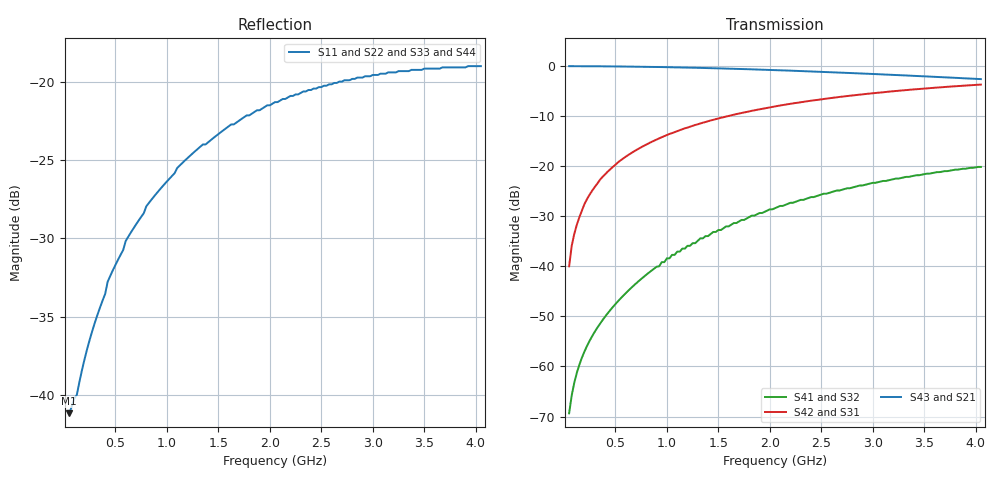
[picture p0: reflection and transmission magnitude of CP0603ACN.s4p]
!	AVX THIN FILM OPERATION
!	CP0603 HIGH DIRECTIVITY COUPLERS
!	P/N CP0603AxxxxCLTR
!	Network	Analyzer HP8720ES.07.64:Feb23,2000 Serial No.US39172382
!	Hewlett-Packard
!	24 July 2003	02:45:57
# MHZ S MA R 50
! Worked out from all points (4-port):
!   161 points, 50 MHz to 4.05 GHz, reference 50 ohm
!   strongest paths, dB at 50 MHz, 1.05 GHz, 2.05 GHz, 3.05 GHz, 4.05 GHz:
!     S43: -0.1, -0.3, -0.9, -1.7, -2.7
!     S21: -0.1, -0.3, -0.9, -1.7, -2.7
!     S42: -40.0, -13.4, -8.1, -5.4, -3.7
!     S31: -40.0, -13.4, -8.1, -5.4, -3.7
!     S41: -69.3, -37.7, -28.4, -23.2, -20.2
!     S32: -69.3, -37.7, -28.4, -23.2, -20.2
!   lowest |S11| = -41.2 dB at 50 MHz (marker M1), VSWR 1.02, Z = 50.8 - j0.261 ohm
!   |S11| at or under -10 dB: start of sweep to end of sweep
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50  0.008732 -17.1  0.992 -0.5  0.01 89.5  0.0003411 84.8
    0.992 -0.5  0.008732 -17.1  0.0003411 84.8  0.01 89.5
    0.01 89.5  0.0003411 84.8  0.008732 -17.1  0.992 -0.5
    0.0003411 84.8  0.01 89.5  0.992 -0.5  0.008732 -17.1
75  0.009164 -24.9  0.991 -0.7  0.016 89.3  0.0005134 82.4
    0.991 -0.7  0.009164 -24.9  0.0005134 82.4  0.016 89.3
    0.016 89.3  0.0005134 82.4  0.009164 -24.9  0.991 -0.7
    0.0005134 82.4  0.016 89.3  0.991 -0.7  0.009164 -24.9
150  0.011 -43.4  0.991 -1.4  0.031 88.6  0.001045 75.2
     0.991 -1.4  0.011 -43.4  0.001045 75.2  0.031 88.6
     0.031 88.6  0.001045 75.2  0.011 -43.4  0.991 -1.4
     0.001045 75.2  0.031 88.6  0.991 -1.4  0.011 -43.4
350  0.019 -68.1  0.989 -3.3  0.073 86.7  0.002673 57.8
     0.989 -3.3  0.019 -68.1  0.002673 57.8  0.073 86.7
     0.073 86.7  0.002673 57.8  0.019 -68.1  0.989 -3.3
     0.002673 57.8  0.073 86.7  0.989 -3.3  0.019 -68.1
1100  0.053 -92.7  0.965 -10.2  0.223 79.7  0.014 17.4
      0.965 -10.2  0.053 -92.7  0.014 17.4  0.223 79.7
      0.223 79.7  0.014 17.4  0.053 -92.7  0.965 -10.2
      0.014 17.4  0.223 79.7  0.965 -10.2  0.053 -92.7
2300  0.092 -107.5  0.887 -20.4  0.433 69.5  0.046 -11.3
      0.887 -20.4  0.092 -107.5  0.046 -11.3  0.433 69.5
      0.433 69.5  0.046 -11.3  0.092 -107.5  0.887 -20.4
      0.046 -11.3  0.433 69.5  0.887 -20.4  0.092 -107.5
4050  0.112 -117.8  0.737 -32.5  0.65 57.6  0.098 -33.1
      0.737 -32.5  0.112 -117.8  0.098 -33.1  0.65 57.6
      0.65 57.6  0.098 -33.1  0.112 -117.8  0.737 -32.5
      0.098 -33.1  0.65 57.6  0.737 -32.5  0.112 -117.8
